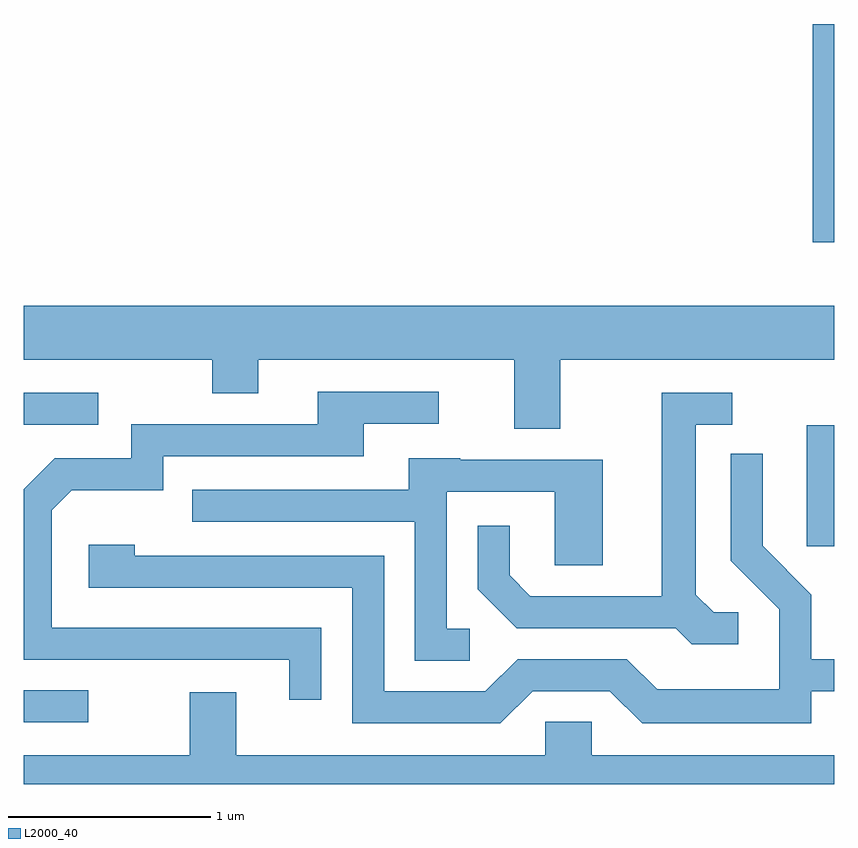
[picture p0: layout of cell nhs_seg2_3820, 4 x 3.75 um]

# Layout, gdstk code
import gdstk
lib = gdstk.Library(unit=1e-6, precision=1e-09)
def R(c, l, rs):  # rectangles x0, y0, x1, y1
    for r in rs: c.add(gdstk.rectangle(r[:2], r[2:], *l))
def P(c, l, *ps):  # polygons
    for p in ps: c.add(gdstk.Polygon(p, *l))
L2000_40 = (2000, 40)

nhs_seg2_3820 = lib.new_cell('nhs_seg2_3820')
R(nhs_seg2_3820, L2000_40, [(297.611,1022.106,297.928,1022.264), (301.476,1022.976,301.611,1023.574), (297.611,1023.576,297.978,1023.734), (301.506,1024.476,301.611,1025.554)])
P(nhs_seg2_3820, L2000_40, [(300.259,1023.896),(301.611,1023.896),(301.611,1024.164),(297.611,1024.164),(297.611,1023.896),(298.541,1023.896),(298.541,1023.731),(298.769,1023.731),(298.769,1023.896),(300.031,1023.896),(300.031,1023.556),(300.259,1023.556)],
  [(299.079,1022.574),(297.749,1022.574),(297.749,1023.154),(297.847,1023.251),(298.299,1023.251),(298.299,1023.421),(299.289,1023.421),(299.289,1023.581),(299.658,1023.581),(299.658,1023.739),(299.061,1023.739),(299.061,1023.579),(298.141,1023.579),(298.141,1023.409),(297.764,1023.409),(297.611,1023.257),(297.611,1022.416),(298.921,1022.416),(298.921,1022.218),(299.079,1022.218)],
  [(301.138,1022.649),(301.017,1022.649),(300.929,1022.737),(300.929,1023.576),(301.108,1023.576),(301.108,1023.734),(300.761,1023.734),(300.761,1022.729),(300.112,1022.729),(300.009,1022.832),(300.009,1023.078),(299.851,1023.078),(299.851,1022.764),(300.044,1022.571),(300.829,1022.571),(300.909,1022.491),(301.138,1022.491)],
  [(300.122,1022.261),(300.504,1022.261),(300.664,1022.101),(301.499,1022.101),(301.499,1022.261),(301.611,1022.261),(301.611,1022.419),(301.499,1022.419),(301.499,1022.737),(301.259,1022.977),(301.259,1023.433),(301.101,1023.433),(301.101,1022.904),(301.341,1022.664),(301.341,1022.269),(300.737,1022.269),(300.587,1022.419),(300.049,1022.419),(299.889,1022.259),(299.389,1022.259),(299.389,1022.929),(298.159,1022.929),(298.159,1022.984),(297.931,1022.984),(297.931,1022.771),(299.231,1022.771),(299.231,1022.101),(299.962,1022.101)],
  [(299.813,1022.569),(299.699,1022.569),(299.699,1023.246),(300.231,1023.246),(300.231,1022.881),(300.469,1022.881),(300.469,1023.404),(299.765,1023.404),(299.765,1023.409),(299.511,1023.409),(299.511,1023.254),(298.443,1023.254),(298.443,1023.096),(299.541,1023.096),(299.541,1022.411),(299.813,1022.411)],
  [(301.611,1021.944),(300.414,1021.944),(300.414,1022.109),(300.186,1022.109),(300.186,1021.944),(298.659,1021.944),(298.659,1022.254),(298.431,1022.254),(298.431,1021.944),(297.611,1021.944),(297.611,1021.802),(301.611,1021.802)])

lib.write_gds('nhs_seg2_3820.gds')
